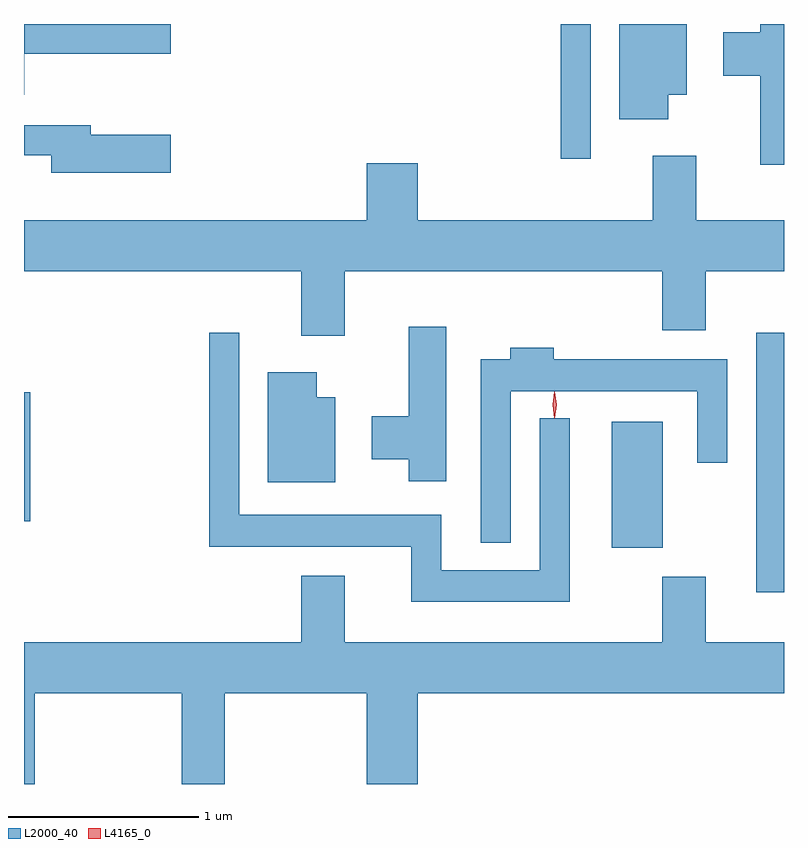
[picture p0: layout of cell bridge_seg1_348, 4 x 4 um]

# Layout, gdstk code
import gdstk
lib = gdstk.Library(unit=1e-6, precision=1e-09)
def R(c, l, rs):  # rectangles x0, y0, x1, y1
    for r in rs: c.add(gdstk.rectangle(r[:2], r[2:], *l))
def P(c, l, *ps):  # polygons
    for p in ps: c.add(gdstk.Polygon(p, *l))
L2000_40 = (2000, 40)
L4165_0 = (4165, 0)

bridge_seg1_348 = lib.new_cell('bridge_seg1_348')
R(bridge_seg1_348, L2000_40, [(936.406,880.126,936.552,881.493), (935.646,880.361,935.914,881.024), (932.552,880.501,932.584,881.179), (935.376,882.408,935.534,883.118)])
P(bridge_seg1_348, L2000_40, [(932.554,882.961),(933.324,882.961),(933.324,883.118),(932.552,883.118),(932.552,882.746),(932.554,882.746)],
  [(935.944,882.746),(936.039,882.746),(936.039,883.118),(935.686,883.118),(935.686,882.616),(935.944,882.616)],
  [(936.552,883.118),(936.426,883.118),(936.426,883.074),(936.231,883.074),(936.231,882.846),(936.426,882.846),(936.426,882.376),(936.552,882.376)],
  [(933.324,882.534),(932.904,882.534),(932.904,882.584),(932.552,882.584),(932.552,882.426),(932.696,882.426),(932.696,882.336),(933.324,882.336)],
  [(934.239,881.816),(935.911,881.816),(935.911,881.506),(936.139,881.506),(936.139,881.816),(936.552,881.816),(936.552,882.084),(936.089,882.084),(936.089,882.424),(935.861,882.424),(935.861,882.084),(934.624,882.084),(934.624,882.384),(934.356,882.384),(934.356,882.084),(932.552,882.084),(932.552,881.816),(934.011,881.816),(934.011,881.476),(934.239,881.476)],
  [(934.774,881.524),(934.576,881.524),(934.576,881.054),(934.381,881.054),(934.381,880.826),(934.576,880.826),(934.576,880.711),(934.774,880.711)],
  [(935.424,881.043),(935.266,881.043),(935.266,880.244),(934.749,880.244),(934.749,880.534),(933.684,880.534),(933.684,881.493),(933.526,881.493),(933.526,880.366),(934.591,880.366),(934.591,880.076),(935.424,880.076)],
  [(935.114,881.186),(936.096,881.186),(936.096,880.808),(936.254,880.808),(936.254,881.354),(935.339,881.354),(935.339,881.414),(935.111,881.414),(935.111,881.354),(934.956,881.354),(934.956,880.388),(935.114,880.388)],
  [(934.189,881.154),(934.094,881.154),(934.094,881.284),(933.836,881.284),(933.836,880.706),(934.189,880.706)],
  [(932.609,879.596),(933.381,879.596),(933.381,879.118),(933.609,879.118),(933.609,879.596),(934.356,879.596),(934.356,879.118),(934.624,879.118),(934.624,879.596),(936.552,879.596),(936.552,879.864),(936.139,879.864),(936.139,880.209),(935.911,880.209),(935.911,879.864),(934.239,879.864),(934.239,880.214),(934.011,880.214),(934.011,879.864),(932.552,879.864),(932.552,879.118),(932.609,879.118)])
P(bridge_seg1_348, L4165_0, [(935.344,881.044),(935.335,881.113),(935.344,881.182),(935.345,881.183),(935.345,881.182),(935.355,881.113),(935.345,881.044),(935.345,881.044)],
  [(935.344,881.047),(935.335,881.114),(935.344,881.18),(935.345,881.181),(935.345,881.18),(935.355,881.114),(935.345,881.047),(935.345,881.047)])

lib.write_gds('bridge_seg1_348.gds')
